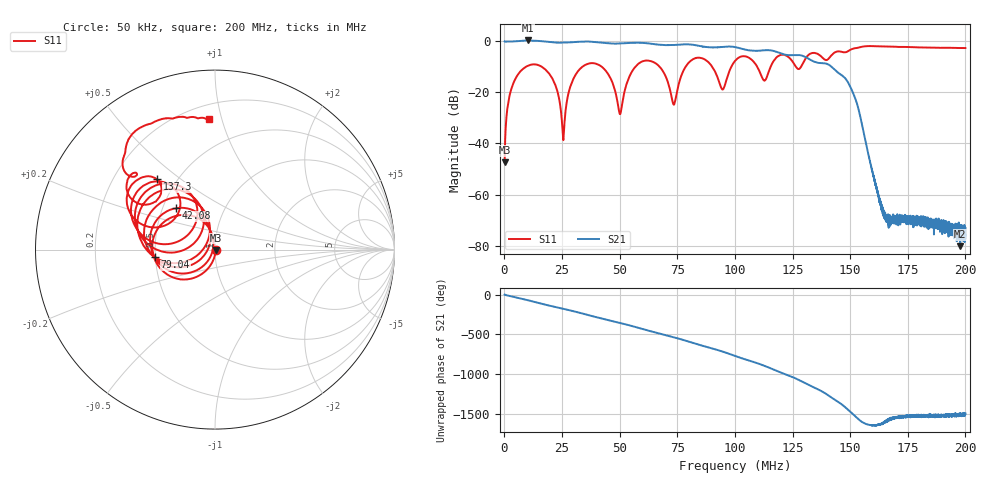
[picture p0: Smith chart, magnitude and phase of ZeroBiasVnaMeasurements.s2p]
# Hz S RI R 50
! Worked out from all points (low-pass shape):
!   10100 points, 50 kHz to 200 MHz, reference 50 ohm
!   highest |S21| = 0.23 dB at 10.31 MHz (marker M1); lowest = -80.2 dB at 197.7 MHz (marker M2)
!   |S21| within 3 dB of the highest: start of sweep to 102 MHz; 101.987 MHz to 101.991 MHz (4.065 kHz wide, 0.00399 % of centre)
!   lowest |S11| = -47.4 dB at 50 kHz (marker M3), VSWR 1.01, Z = 50.4 - j0.179 ohm
!   |S11| at or under -10 dB: 16.09 MHz to 33.87 MHz (17.78 MHz wide, 71.2 % of centre); 42.11 MHz to 56.85 MHz (14.74 MHz wide, 29.8 % of centre); 67.25 MHz to 78.62 MHz (11.38 MHz wide, 15.6 % of centre)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
!   S12 and S22 are empty: the file has one direction only
!   S11 on the Smith chart (normalised r, x): 50 kHz: 1.01, -0.00; 42.08 MHz: 0.59, +0.30; 79.04 MHz: 0.50, -0.05; 137.3 MHz: 0.39, +0.41; 200 MHz: 0.29, +0.91
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50000  0.00387 -0.00178  0.9829 -0.00707  0 0  0 0
2960306  -0.0411 -0.1078  0.9022 -0.3796  0 0  0 0
1.030536e7  -0.321 -0.0829  0.3029 -0.9811  0 0  0 0
2.046174e7  -0.0907 0.1735  -0.7923 -0.5212  0 0  0 0
2.549043e7  -0.0114 0.00229  -0.9311 -0.00284  0 0  0 0
3.338983e7  -0.2875 -0.0978  -0.5506 0.8036  0 0  0 0
4.208115e7  -0.2177 0.2306  0.4864 0.7919  0 0  0 0
5.011914e7  -0.0346 0.0137  0.8924 0.039  0 0  0 0
6.670987e7  -0.1699 0.2878  -0.5087 -0.6821  0 0  0 0
7.344119e7  -0.0495 0.0282  -0.8369 -0.0444  0 0  0 0
7.904402e7  -0.3345 -0.0426  -0.6159 0.6027  0 0  0 0
9.199191e7  -0.0678 0.2087  0.6785 0.3301  0 0  0 0
1.000299e8  -0.4038 0.0614  0.4707 -0.5983  0 0  0 0
1.120473e8  -0.1087 0.1465  -0.6416 -0.1371  0 0  0 0
1.195705e8  -0.4637 0.2588  -0.1307 0.5655  0 0  0 0
1.275095e8  -0.2168 0.1825  0.5266 0.084  0 0  0 0
1.333499e8  -0.4841 0.322  0.0981 -0.4034  0 0  0 0
1.372501e8  -0.3239 0.3913  -0.2378 -0.2838  0 0  0 0
1.509504e8  -0.5154 0.4775  0.056 -0.0875  0 0  0 0
1.6667e8  -0.2873 0.7288  -0.000294 -0.000222  0 0  0 0
1.97733e8  -0.0486 0.7273  3.52e-05 -9.11e-05  0 0  0 0
1.9999e8  -0.0362 0.7289  0.000124 -0.00018  0 0  0 0
